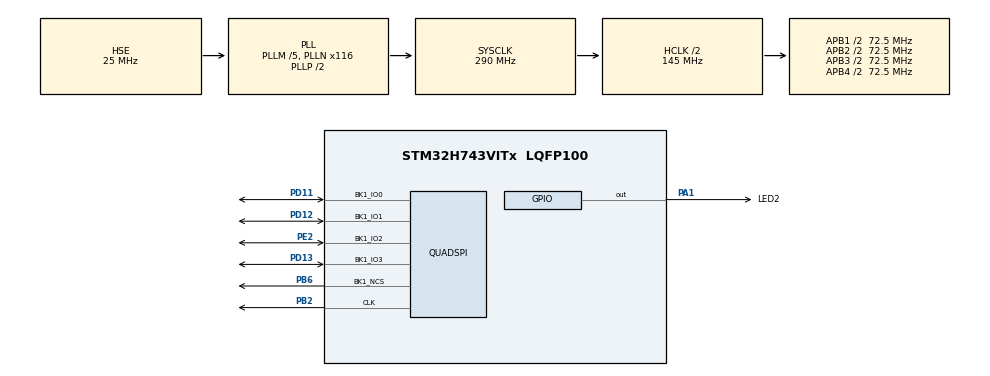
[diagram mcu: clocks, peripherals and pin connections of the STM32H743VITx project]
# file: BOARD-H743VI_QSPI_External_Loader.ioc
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Mcu.Family=STM32H7
RCC.CortexFreq_Value=290000000
QUADSPI.ClockPrescaler=2
RCC.HPRE=RCC_HCLK_DIV2
PH0-OSC_IN\ (PH0).Signal=RCC_OSC_IN
RCC.PLLFRACN=0
PB2.GPIO_Speed=GPIO_SPEED_FREQ_VERY_HIGH
PE2.GPIO_Speed=GPIO_SPEED_FREQ_VERY_HIGH
RCC.PLL2FRACN=0
RCC.SYSCLKSource=RCC_SYSCLKSOURCE_PLLCLK
ProjectManager.StackSize=0x400
PD13.Signal=QUADSPI_BK1_IO3
PA14\ (JTCK/SWCLK).Signal=DEBUG_JTCK-SWCLK
RCC.HCLKFreq_Value=145000000
PE2.Mode=Single Bank 1
PB6.Signal=QUADSPI_BK1_NCS
PB6.Mode=Single Bank 1
QUADSPI.FlashSize=22
PH1-OSC_OUT\ (PH1).Mode=HSE-External-Oscillator
PB2.Signal=QUADSPI_CLK
RCC.DIVM1=5
PE2.Signal=QUADSPI_BK1_IO2
PA14\ (JTCK/SWCLK).Mode=Serial_Wire
RCC.APB3Freq_Value=72500000
Mcu.Package=LQFP100
RCC.PLL3FRACN=0
RCC.D1PPRE=RCC_APB3_DIV2
PD12.Signal=QUADSPI_BK1_IO1
PA1.PinState=GPIO_PIN_SET
RCC.APB4Freq_Value=72500000
PH0-OSC_IN\ (PH0).Mode=HSE-External-Oscillator
RCC.PLLSourceVirtual=RCC_PLLSOURCE_HSE
PD12.GPIO_Speed=GPIO_SPEED_FREQ_VERY_HIGH
PA13\ (JTMS/SWDIO).Mode=Serial_Wire
PB6.GPIO_PuPd=GPIO_PULLUP
RCC.D2PPRE2=RCC_APB2_DIV2
RCC.D2PPRE1=RCC_APB1_DIV2
PH1-OSC_OUT\ (PH1).Signal=RCC_OSC_OUT
ProjectManager.TargetToolchain=STM32CubeIDE
PD11.GPIO_Speed=GPIO_SPEED_FREQ_VERY_HIGH
PD13.Mode=Single Bank 1
RCC.DIVN1=116
RCC.USBFreq_Value=290000000
PA1.Signal=GPIO_Output
board=custom
PD13.GPIO_Speed=GPIO_SPEED_FREQ_VERY_HIGH
RCC.APB2Freq_Value=72500000
RCC.ADCFreq_Value=50390625
PA1.GPIO_Label=LED2
QUADSPI.FifoThreshold=4
Mcu.Name=STM32H743VITx
RCC.SYSCLKFreq_VALUE=290000000
PD12.Mode=Single Bank 1
PD11.Signal=QUADSPI_BK1_IO0
PB2.Mode=Single Bank 1
ProjectManager.HeapSize=0x200
PD11.Mode=Single Bank 1
NVIC.PriorityGroup=NVIC_PRIORITYGROUP_4
RCC.D3PPRE=RCC_APB4_DIV2
PB6.GPIO_Speed=GPIO_SPEED_FREQ_VERY_HIGH
RCC.APB1Freq_Value=72500000
PA13\ (JTMS/SWDIO).Signal=DEBUG_JTMS-SWDIO
PA1.GPIO_ModeDefaultOutputPP=GPIO_MODE_OUTPUT_PP

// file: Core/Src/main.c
/* USER CODE BEGIN Header */
/**
 ******************************************************************************
 * @file           : main.c
 * @brief          : Main program body
 ******************************************************************************
 * @attention
 *
 * <h2><center>&copy; Copyright (c) 2021 STMicroelectronics.
 * All rights reserved.</center></h2>
 *
 * This software component is licensed by ST under BSD 3-Clause license,
 * the "License"; You may not use this file except in compliance with the
 * License. You may obtain a copy of the License at:
 *                        opensource.org/licenses/BSD-3-Clause
 *
 ******************************************************************************
 */
/* USER CODE END Header */
#include "main.h"
#include "quadspi.h"
#include "gpio.h"

void SystemClock_Config(void);

/* USER CODE BEGIN 0 */
#include <string.h>
#define SECTORS_COUNT 100
/* USER CODE END 0 */

int main(void) {

	/* MCU Configuration--------------------------------------------------------*/

	/* Reset of all peripherals, Initializes the Flash interface and the Systick. */
	HAL_Init();

	/* Configure the system clock */
	SystemClock_Config();

	/* Initialize all configured peripherals */
	MX_GPIO_Init();
	MX_QUADSPI_Init();
	/* USER CODE BEGIN 2 */

	uint8_t buffer_test[MEMORY_SECTOR_SIZE];
	uint32_t var = 0;

	CSP_QUADSPI_Init();

	for (var = 0; var < MEMORY_SECTOR_SIZE; var++) {
		buffer_test[var] = (var & 0xff);
	}

	for (var = 0; var < SECTORS_COUNT; var++) {

		if (CSP_QSPI_EraseSector(var * MEMORY_SECTOR_SIZE,
				(var + 1) * (MEMORY_SECTOR_SIZE - 1)) != HAL_OK) {

			while (1)
				;  //breakpoint - error detected
		}

		if (CSP_QSPI_WriteMemory(buffer_test, var * MEMORY_SECTOR_SIZE,
				sizeof(buffer_test)) != HAL_OK) {

			while (1)
				;  //breakpoint - error detected
		}

	}

//	CSP_QSPI_EraseSector(0, 4095);
//	CSP_QSPI_EraseSector(4096, 8190);
//  CSP_QSPI_WriteMemory(buffer_test, 0, sizeof(buffer_test));

//	uint8_t testData[3] = { 8, 12, 20 };
//	CSP_QSPI_WriteMemory(testData, 0, 3);

	if (CSP_QSPI_EnableMemoryMappedMode2() != HAL_OK) {

		while (1)
			; //breakpoint - error detected
	}

	uint8_t firstValue = *(uint8_t*) (0x90000000 + 0 * MEMORY_SECTOR_SIZE);

	for (var = 0; var < SECTORS_COUNT; var++) {
		if (memcmp(buffer_test,
				(uint8_t*) (0x90000000 + var * MEMORY_SECTOR_SIZE),
				MEMORY_SECTOR_SIZE) != HAL_OK) {
			while (1)
				;  //breakpoint - error detected - otherwise QSPI works properly
		}
	}

	/* USER CODE END 2 */

	/* Infinite loop */
	while (1) {

	}
}

void SystemClock_Config(void) {
	RCC_OscInitTypeDef RCC_OscInitStruct = { 0 };
	RCC_ClkInitTypeDef RCC_ClkInitStruct = { 0 };

	/** Supply configuration update enable
	 */
	HAL_PWREx_ConfigSupply(PWR_LDO_SUPPLY);
	/** Configure the main internal regulator output voltage
	 */
	__HAL_PWR_VOLTAGESCALING_CONFIG(PWR_REGULATOR_VOLTAGE_SCALE2);

	while (!__HAL_PWR_GET_FLAG(PWR_FLAG_VOSRDY)) {
	}
	/** Initializes the RCC Oscillators according to the specified parameters
	 * in the RCC_OscInitTypeDef structure.
	 */
	RCC_OscInitStruct.OscillatorType = RCC_OSCILLATORTYPE_HSE;
	RCC_OscInitStruct.HSEState = RCC_HSE_ON;
	RCC_OscInitStruct.PLL.PLLState = RCC_PLL_ON;
	RCC_OscInitStruct.PLL.PLLSource = RCC_PLLSOURCE_HSE;
	RCC_OscInitStruct.PLL.PLLM = 5;
	RCC_OscInitStruct.PLL.PLLN = 116;
	RCC_OscInitStruct.PLL.PLLP = 2;
	RCC_OscInitStruct.PLL.PLLQ = 2;
	RCC_OscInitStruct.PLL.PLLR = 2;
	RCC_OscInitStruct.PLL.PLLRGE = RCC_PLL1VCIRANGE_2;
	RCC_OscInitStruct.PLL.PLLVCOSEL = RCC_PLL1VCOWIDE;
	RCC_OscInitStruct.PLL.PLLFRACN = 0;
	if (HAL_RCC_OscConfig(&RCC_OscInitStruct) != HAL_OK) {
		Error_Handler();
	}
	/** Initializes the CPU, AHB and APB buses clocks
	 */
	RCC_ClkInitStruct.ClockType = RCC_CLOCKTYPE_HCLK | RCC_CLOCKTYPE_SYSCLK
			| RCC_CLOCKTYPE_PCLK1 | RCC_CLOCKTYPE_PCLK2 | RCC_CLOCKTYPE_D3PCLK1
			| RCC_CLOCKTYPE_D1PCLK1;
	RCC_ClkInitStruct.SYSCLKSource = RCC_SYSCLKSOURCE_PLLCLK;
	RCC_ClkInitStruct.SYSCLKDivider = RCC_SYSCLK_DIV1;
	RCC_ClkInitStruct.AHBCLKDivider = RCC_HCLK_DIV2;
	RCC_ClkInitStruct.APB3CLKDivider = RCC_APB3_DIV2;
	RCC_ClkInitStruct.APB1CLKDivider = RCC_APB1_DIV2;
	RCC_ClkInitStruct.APB2CLKDivider = RCC_APB2_DIV2;
	RCC_ClkInitStruct.APB4CLKDivider = RCC_APB4_DIV2;

	if (HAL_RCC_ClockConfig(&RCC_ClkInitStruct, FLASH_LATENCY_2) != HAL_OK) {
		Error_Handler();
	}
}

void Error_Handler(void) {
	__disable_irq();
	while (1) {
	}
}

/************************ (C) COPYRIGHT STMicroelectronics *****END OF FILE****/
